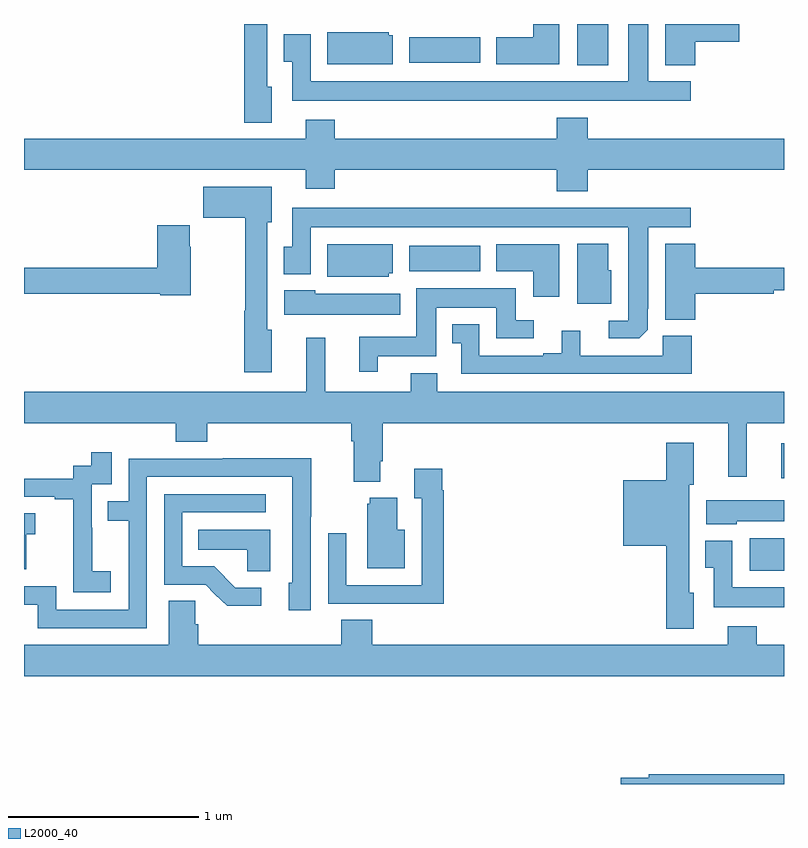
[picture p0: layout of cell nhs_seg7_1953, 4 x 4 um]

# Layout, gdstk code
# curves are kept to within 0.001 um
import gdstk
lib = gdstk.Library(unit=1e-6, precision=1e-09)
def R(c, l, rs):  # rectangles x0, y0, x1, y1
    for r in rs: c.add(gdstk.rectangle(r[:2], r[2:], *l))
def P(c, l, *ps):  # polygons
    for p in ps: c.add(gdstk.Polygon(p, *l))
L2000_40 = (2000, 40)

nhs_seg7_1953 = lib.new_cell('nhs_seg7_1953')
R(nhs_seg7_1953, L2000_40, [(244.82,1049.123,245,1049.293), (244.985,1049.609,245,1049.794), (243.027,1050.698,243.4,1050.832), (243.911,1051.784,244.075,1052), (243.027,1051.796,243.4,1051.93)])
P(nhs_seg7_1953, L2000_40, [(242.305,1051.671),(242.281,1051.671),(242.281,1052),(242.159,1052),(242.159,1051.481),(242.305,1051.481)],
  [(244.51,1051.699),(244.285,1051.699),(244.285,1052),(244.181,1052),(244.181,1051.699),(242.508,1051.699),(242.508,1051.945),(242.366,1051.945),(242.366,1051.801),(242.411,1051.801),(242.411,1051.595),(244.51,1051.595)],
  [(244.532,1051.907),(244.765,1051.907),(244.765,1052),(244.376,1052),(244.376,1051.784),(244.532,1051.784)],
  [(243.817,1052),(243.68,1052),(243.68,1051.93),(243.485,1051.93),(243.485,1051.787),(243.817,1051.787)],
  [(242.941,1051.941),(242.919,1051.941),(242.919,1051.957),(242.597,1051.957),(242.597,1051.787),(242.941,1051.787)],
  [(243.968,1051.232),(245,1051.232),(245,1051.396),(243.968,1051.396),(243.968,1051.507),(243.803,1051.507),(243.803,1051.396),(242.636,1051.396),(242.636,1051.495),(242.483,1051.495),(242.483,1051.396),(241,1051.396),(241,1051.232),(242.483,1051.232),(242.483,1051.133),(242.636,1051.133),(242.636,1051.232),(243.803,1051.232),(243.803,1051.121),(243.968,1051.121)],
  [(242.305,1050.39),(242.281,1050.39),(242.281,1050.957),(242.305,1050.957),(242.305,1051.144),(241.944,1051.144),(241.944,1050.979),(242.164,1050.979),(242.164,1050.49),(242.159,1050.49),(242.159,1050.168),(242.305,1050.168)],
  [(244.284,1050.391),(244.285,1050.929),(244.51,1050.929),(244.51,1051.033),(242.411,1051.033),(242.411,1050.828),(242.366,1050.828),(242.366,1050.684),(242.508,1050.684),(242.508,1050.929),(244.181,1050.929),(244.181,1050.438),(244.077,1050.438),(244.077,1050.345),(244.238,1050.345)],
  [(241.878,1050.827),(241.873,1050.827),(241.873,1050.94),(241.7,1050.94),(241.7,1050.716),(241,1050.716),(241,1050.58),(241.716,1050.58),(241.716,1050.572),(241.878,1050.572)],
  [(244.09,1050.705),(244.075,1050.705),(244.075,1050.844),(243.911,1050.844),(243.911,1050.528),(244.09,1050.528)],
  [(244.532,1050.58),(244.946,1050.58),(244.946,1050.6),(245,1050.6),(245,1050.716),(244.532,1050.716),(244.532,1050.844),(244.376,1050.844),(244.376,1050.443),(244.532,1050.443)],
  [(243.817,1050.841),(243.485,1050.841),(243.485,1050.698),(243.68,1050.698),(243.68,1050.564),(243.817,1050.564)],
  [(242.919,1050.687),(242.941,1050.687),(242.941,1050.841),(242.597,1050.841),(242.597,1050.671),(242.919,1050.671)],
  [(242.863,1050.251),(243.169,1050.251),(243.169,1050.506),(243.485,1050.506),(243.485,1050.345),(243.682,1050.345),(243.682,1050.441),(243.589,1050.441),(243.589,1050.61),(243.065,1050.61),(243.065,1050.355),(242.765,1050.355),(242.765,1050.171),(242.863,1050.171)],
  [(242.98,1050.58),(242.532,1050.58),(242.532,1050.598),(242.37,1050.598),(242.37,1050.47),(242.98,1050.47)],
  [(244.514,1050.358),(244.362,1050.358),(244.362,1050.255),(243.928,1050.255),(243.928,1050.385),(243.83,1050.385),(243.83,1050.268),(243.734,1050.268),(243.734,1050.255),(243.396,1050.255),(243.396,1050.421),(243.254,1050.421),(243.254,1050.321),(243.3,1050.321),(243.3,1050.159),(244.514,1050.159)],
  [(242.875,1049.698),(242.888,1049.698),(242.888,1049.9),(244.706,1049.9),(244.706,1049.616),(244.805,1049.616),(244.805,1049.9),(245,1049.9),(245,1050.064),(243.175,1050.064),(243.175,1050.163),(243.035,1050.163),(243.035,1050.064),(242.585,1050.064),(242.585,1050.349),(242.486,1050.349),(242.486,1050.064),(241,1050.064),(241,1049.9),(241.799,1049.9),(241.799,1049.801),(241.964,1049.801),(241.964,1049.9),(242.723,1049.9),(242.723,1049.804),(242.735,1049.804),(242.735,1049.591),(242.875,1049.591)],
  [(244.525,1049.007),(244.501,1049.007),(244.501,1049.574),(244.525,1049.574),(244.525,1049.797),(244.379,1049.797),(244.379,1049.599),(244.154,1049.599),(244.154,1049.255),(244.379,1049.255),(244.379,1048.817),(244.525,1048.817)],
  [(241.456,1049.119),(241.358,1049.119),(241.358,1049.348),(241.356,1049.348),(241.356,1049.577),(241.461,1049.577),(241.461,1049.746),(241.353,1049.746),(241.353,1049.676),(241.26,1049.676),(241.26,1049.607),(241,1049.607),(241,1049.511),(241.163,1049.511),(241.163,1049.499),(241.259,1049.499),(241.259,1049.215),(241.258,1049.215),(241.258,1049.009),(241.456,1049.009)],
  [(241.647,1049.616),(242.412,1049.616),(242.412,1049.058),(242.393,1049.058),(242.393,1048.914),(242.508,1048.914),(242.508,1049.407),(242.511,1049.407),(242.511,1049.714),(242.047,1049.714),(242.047,1049.712),(241.551,1049.712),(241.551,1049.487),(241.441,1049.487),(241.441,1049.386),(241.551,1049.386),(241.551,1048.917),(241.17,1048.917),(241.17,1049.04),(241,1049.04),(241,1048.944),(241.073,1048.944),(241.073,1048.821),(241.647,1048.821)],
  [(243.209,1049.546),(243.202,1049.546),(243.202,1049.659),(243.053,1049.659),(243.053,1049.503),(243.093,1049.503),(243.093,1049.046),(242.697,1049.046),(242.697,1049.32),(242.601,1049.32),(242.601,1048.95),(242.917,1048.95),(242.917,1048.949),(243.209,1048.949)],
  [(242.248,1049.034),(242.113,1049.034),(242.002,1049.145),(241.833,1049.145),(241.833,1049.43),(242.272,1049.43),(242.272,1049.526),(241.737,1049.526),(241.737,1049.049),(241.956,1049.049),(242.069,1048.937),(242.248,1048.937)],
  [(243.004,1049.338),(242.965,1049.338),(242.965,1049.506),(242.819,1049.506),(242.819,1049.475),(242.807,1049.475),(242.807,1049.135),(243.004,1049.135)],
  [(244.752,1049.384),(245,1049.384),(245,1049.494),(244.59,1049.494),(244.59,1049.366),(244.752,1049.366)],
  [(241.011,1049.315),(241.06,1049.315),(241.06,1049.425),(241,1049.425),(241,1049.13),(241.011,1049.13)],
  [(242.296,1049.338),(241.918,1049.338),(241.918,1049.234),(242.175,1049.234),(242.175,1049.119),(242.296,1049.119)],
  [(245,1049.035),(244.728,1049.035),(244.728,1049.281),(244.586,1049.281),(244.586,1049.137),(244.631,1049.137),(244.631,1048.931),(245,1048.931)],
  [(242.669,1048.865),(242.669,1048.732),(241.916,1048.732),(241.916,1048.841),(241.902,1048.841),(241.902,1048.964),(241.763,1048.964),(241.763,1048.732),(241,1048.732),(241,1048.568),(245,1048.568),(245,1048.732),(244.856,1048.732),(244.856,1048.831),(244.703,1048.831),(244.703,1048.732),(242.834,1048.732),(242.834,1048.865)],
  [(245,1048.052),(244.288,1048.052),(244.288,1048.032),(244.142,1048.032),(244.142,1048),(245,1048)])

lib.write_gds('nhs_seg7_1953.gds')
